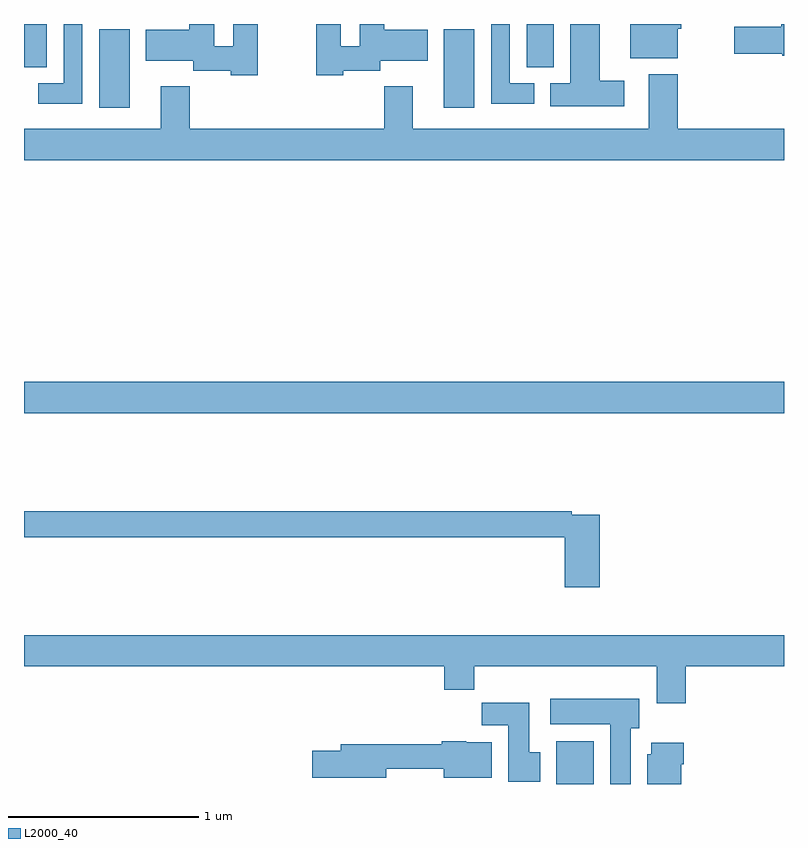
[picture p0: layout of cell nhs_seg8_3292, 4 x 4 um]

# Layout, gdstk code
import gdstk
lib = gdstk.Library(unit=1e-6, precision=1e-09)
def R(c, l, rs):  # rectangles x0, y0, x1, y1
    for r in rs: c.add(gdstk.rectangle(r[:2], r[2:], *l))
def P(c, l, *ps):  # polygons
    for p in ps: c.add(gdstk.Polygon(p, *l))
L2000_40 = (2000, 40)

nhs_seg8_3292 = lib.new_cell('nhs_seg8_3292')
R(nhs_seg8_3292, L2000_40, [(317.801,1095.9,317.998,1096.126), (315,1097.852,319,1098.016), (315.395,1099.458,315.556,1099.873), (317.21,1099.458,317.371,1099.873), (315,1099.673,315.121,1099.9), (317.645,1099.673,317.788,1099.9)])
P(nhs_seg8_3292, L2000_40, [(319,1099.9),(318.986,1099.9),(318.986,1099.886),(318.738,1099.886),(318.738,1099.744),(318.99,1099.744),(318.99,1099.733),(319,1099.733)],
  [(318.16,1099.601),(318.031,1099.601),(318.031,1099.9),(317.876,1099.9),(317.876,1099.588),(317.77,1099.588),(317.77,1099.466),(318.16,1099.466)],
  [(317.685,1099.588),(317.556,1099.588),(317.556,1099.9),(317.46,1099.9),(317.46,1099.481),(317.685,1099.481)],
  [(315.306,1099.9),(315.21,1099.9),(315.21,1099.588),(315.075,1099.588),(315.075,1099.481),(315.306,1099.481)],
  [(318.442,1099.875),(318.46,1099.875),(318.46,1099.9),(318.191,1099.9),(318.191,1099.721),(318.442,1099.721)],
  [(316.679,1099.654),(316.876,1099.654),(316.876,1099.706),(317.125,1099.706),(317.125,1099.87),(316.896,1099.87),(316.896,1099.9),(316.766,1099.9),(316.766,1099.784),(316.666,1099.784),(316.666,1099.9),(316.537,1099.9),(316.537,1099.631),(316.679,1099.631)],
  [(316.23,1099.9),(316.1,1099.9),(316.1,1099.784),(316,1099.784),(316,1099.9),(315.871,1099.9),(315.871,1099.87),(315.641,1099.87),(315.641,1099.706),(315.89,1099.706),(315.89,1099.654),(316.088,1099.654),(316.088,1099.631),(316.23,1099.631)],
  [(319,1099.348),(318.44,1099.348),(318.44,1099.636),(318.287,1099.636),(318.287,1099.348),(317.047,1099.348),(317.047,1099.573),(316.895,1099.573),(316.895,1099.348),(315.872,1099.348),(315.872,1099.573),(315.719,1099.573),(315.719,1099.348),(315,1099.348),(315,1099.184),(319,1099.184)],
  [(318.029,1097.316),(317.882,1097.316),(317.882,1097.336),(315,1097.336),(315,1097.2),(317.846,1097.2),(317.846,1096.935),(318.029,1096.935)],
  [(318.482,1096.52),(319,1096.52),(319,1096.684),(315,1096.684),(315,1096.52),(317.213,1096.52),(317.213,1096.396),(317.369,1096.396),(317.369,1096.52),(318.329,1096.52),(318.329,1096.326),(318.482,1096.326)],
  [(318.193,1096.194),(318.238,1096.194),(318.238,1096.348),(317.769,1096.348),(317.769,1096.214),(318.086,1096.214),(318.086,1095.9),(318.193,1095.9)],
  [(317.716,1096.068),(317.659,1096.068),(317.659,1096.327),(317.41,1096.327),(317.41,1096.208),(317.549,1096.208),(317.549,1095.912),(317.716,1095.912)],
  [(316.906,1095.979),(317.21,1095.979),(317.21,1095.932),(317.461,1095.932),(317.461,1096.12),(317.328,1096.12),(317.328,1096.126),(317.198,1096.126),(317.198,1096.108),(316.667,1096.108),(316.667,1096.074),(316.518,1096.074),(316.518,1095.932),(316.906,1095.932)],
  [(318.46,1096.004),(318.473,1096.004),(318.473,1096.117),(318.302,1096.117),(318.302,1096.056),(318.281,1096.056),(318.281,1095.9),(318.46,1095.9)])

lib.write_gds('nhs_seg8_3292.gds')
